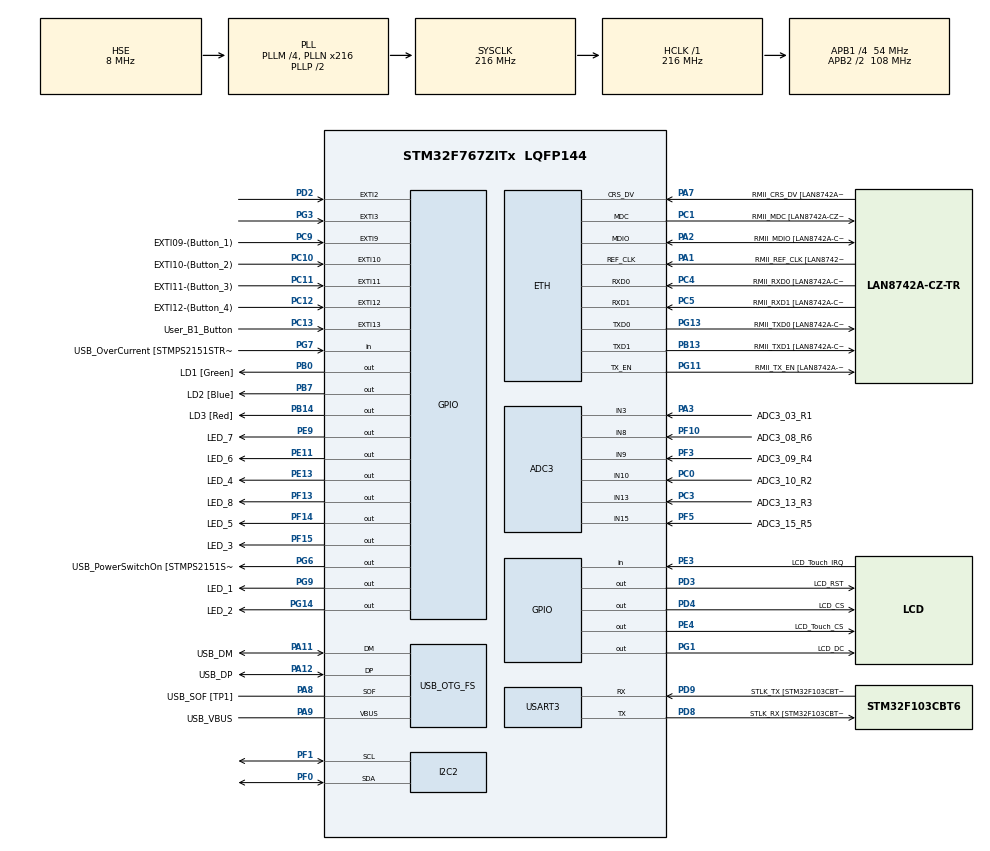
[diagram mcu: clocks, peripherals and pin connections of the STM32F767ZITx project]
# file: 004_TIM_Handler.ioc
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ADC3.Channel-0\#ChannelRegularConversion=ADC_CHANNEL_3
ADC3.Channel-1\#ChannelRegularConversion=ADC_CHANNEL_10
ADC3.Channel-2\#ChannelRegularConversion=ADC_CHANNEL_13
ADC3.Channel-3\#ChannelRegularConversion=ADC_CHANNEL_9
ADC3.Channel-4\#ChannelRegularConversion=ADC_CHANNEL_15
ADC3.Channel-5\#ChannelRegularConversion=ADC_CHANNEL_8
ADC3.ContinuousConvMode=ENABLE
ADC3.DMAContinuousRequests=ENABLE
ADC3.DiscontinuousConvMode=DISABLE
ADC3.NbrOfConversion=6
ADC3.NbrOfConversionFlag=1
ADC3.Rank-0\#ChannelRegularConversion=1
ADC3.Rank-1\#ChannelRegularConversion=2
ADC3.Rank-2\#ChannelRegularConversion=3
ADC3.Rank-3\#ChannelRegularConversion=4
ADC3.Rank-4\#ChannelRegularConversion=5
ADC3.Rank-5\#ChannelRegularConversion=6
ADC3.SamplingTime-0\#ChannelRegularConversion=ADC_SAMPLETIME_480CYCLES
ADC3.SamplingTime-1\#ChannelRegularConversion=ADC_SAMPLETIME_480CYCLES
ADC3.SamplingTime-2\#ChannelRegularConversion=ADC_SAMPLETIME_480CYCLES
ADC3.SamplingTime-3\#ChannelRegularConversion=ADC_SAMPLETIME_480CYCLES
ADC3.SamplingTime-4\#ChannelRegularConversion=ADC_SAMPLETIME_480CYCLES
ADC3.SamplingTime-5\#ChannelRegularConversion=ADC_SAMPLETIME_480CYCLES
Dma.ADC3.0.Direction=DMA_PERIPH_TO_MEMORY
Dma.ADC3.0.FIFOMode=DMA_FIFOMODE_DISABLE
Dma.ADC3.0.Instance=DMA2_Stream0
Dma.ADC3.0.MemDataAlignment=DMA_MDATAALIGN_HALFWORD
Dma.ADC3.0.MemInc=DMA_MINC_DISABLE
Dma.ADC3.0.Mode=DMA_CIRCULAR
Dma.ADC3.0.PeriphDataAlignment=DMA_PDATAALIGN_HALFWORD
Dma.ADC3.0.PeriphInc=DMA_PINC_DISABLE
Dma.ADC3.0.Priority=DMA_PRIORITY_LOW
Dma.Request0=ADC3
ETH.MediaInterface=HAL_ETH_RMII_MODE
ETH.PHY_Name=LAN8742A_PHY_ADDRESS
ETH.PHY_Value=0
ETH.PhyAddress=0
I2C2.Timing=0x20404768
Mcu.Family=STM32F7
Mcu.Name=STM32F767ZITx
Mcu.Package=LQFP144
NVIC.DMA2_Stream0_IRQn=true\:0\:0\:false\:false\:true\:false\:true\:true
NVIC.EXTI15_10_IRQn=true\:1\:0\:true\:false\:true\:true\:true\:true
NVIC.PriorityGroup=NVIC_PRIORITYGROUP_2
NVIC.TIM3_IRQn=true\:1\:0\:true\:false\:true\:true\:true\:true
NVIC.TIM4_IRQn=true\:2\:0\:true\:false\:true\:true\:true\:true
PA1.GPIO_Label=RMII_REF_CLK [LAN8742A-CZ-TR_REFCLK0]
PA1.Mode=RMII
PA1.Signal=ETH_REF_CLK
PA10.GPIO_Label=USB_ID
PA10.Signal=USB_OTG_FS_ID
PA11.GPIO_Label=USB_DM
PA11.Mode=Device_Only
PA11.Signal=USB_OTG_FS_DM
PA12.GPIO_Label=USB_DP
PA12.Mode=Device_Only
PA12.Signal=USB_OTG_FS_DP
PA13.GPIO_Label=TMS
PA13.Mode=Serial_Wire
PA13.Signal=SYS_JTMS-SWDIO
PA14.GPIO_Label=TCK
PA14.Mode=Serial_Wire
PA14.Signal=SYS_JTCK-SWCLK
PA2.GPIO_Label=RMII_MDIO [LAN8742A-CZ-TR_MDIO]
PA2.Mode=RMII
PA2.Signal=ETH_MDIO
PA3.GPIO_Label=ADC3_03_R1
PA3.Signal=ADCx_IN3
PA6.GPIO_Label=TIM3_CH1-[RGB-RED]
PA6.Signal=S_TIM3_CH1
PA7.GPIO_Label=RMII_CRS_DV [LAN8742A-CZ-TR_CRS_DV]
PA7.Mode=RMII
PA7.Signal=ETH_CRS_DV
PA8.GPIO_Label=USB_SOF [TP1]
PA8.Mode=Activate_SOF_FS
PA8.Signal=USB_OTG_FS_SOF
PA9.GPIO_Label=USB_VBUS
PA9.Mode=Activate_VBUS
PA9.Signal=USB_OTG_FS_VBUS
PB0.GPIO_Label=LD1 [Green]
PB0.Signal=GPIO_Output
PB1.Signal=S_TIM3_CH4
PB13.GPIO_Label=RMII_TXD1 [LAN8742A-CZ-TR_TXD1]
PB13.Mode=RMII
PB13.Signal=ETH_TXD1
PB14.GPIO_Label=LD3 [Red]
PB14.Signal=GPIO_Output
PB3.GPIO_Label=SWO
PB3.Signal=SYS_JTDO-SWO
PB7.GPIO_Label=LD2 [Blue]
PB7.Signal=GPIO_Output
PC0.GPIO_Label=ADC3_10_R2
PC0.Signal=ADCx_IN10
PC1.GPIO_Label=RMII_MDC [LAN8742A-CZ-TR_MDC]
PC1.Mode=RMII
PC1.Signal=ETH_MDC
PC10.GPIO_Label=EXTI10-(Button_2)
PC10.Signal=GPXTI10
PC11.GPIO_Label=EXTI11-(Button_3)
PC11.Signal=GPXTI11
PC12.GPIO_Label=EXTI12-(Button_4)
PC12.Signal=GPXTI12
PC13.GPIO_Label=User_B1_Button
PC13.Signal=GPXTI13
PC14/OSC32_IN.Signal=RCC_OSC32_IN
PC15/OSC32_OUT.Signal=RCC_OSC32_OUT
PC3.GPIO_Label=ADC3_13_R3
PC3.Signal=ADCx_IN13
PC4.GPIO_Label=RMII_RXD0 [LAN8742A-CZ-TR_RXD0]
PC4.Mode=RMII
PC4.Signal=ETH_RXD0
PC5.GPIO_Label=RMII_RXD1 [LAN8742A-CZ-TR_RXD1]
PC5.Mode=RMII
PC5.Signal=ETH_RXD1
PC7.GPIO_Label=TIM3_CH2-[RGB-Green]
PC7.Signal=S_TIM3_CH2
PC8.GPIO_Label=TIM3_CH3-[RGB-Blue]
PC8.Signal=S_TIM3_CH3
PC9.GPIO_Label=EXTI09-(Button_1)
PC9.Signal=GPXTI9
PD12.Signal=S_TIM4_CH1
PD13.Signal=S_TIM4_CH2
PD14.Signal=S_TIM4_CH3
PD15.Signal=S_TIM4_CH4
PD2.Signal=GPXTI2
PD3.GPIO_Label=LCD_RST
PD3.Signal=GPIO_Output
PD4.GPIO_Label=LCD_CS
PD4.Signal=GPIO_Output
PD8.GPIO_Label=STLK_RX [STM32F103CBT6_PA3]
PD8.Mode=Asynchronous
PD8.Signal=USART3_TX
PD9.GPIO_Label=STLK_TX [STM32F103CBT6_PA2]
PD9.Mode=Asynchronous
PD9.Signal=USART3_RX
PE11.GPIO_Label=LED_6
PE11.Signal=GPIO_Output
PE13.GPIO_Label=LED_4
PE13.Signal=GPIO_Output
PE2.GPIO_Label=LCD-Touch-CLK
PE2.Signal=SPI4_SCK
PE3.GPIO_Label=LCD_Touch_IRQ
PE3.Signal=GPIO_Input
PE4.GPIO_Label=LCD_Touch_CS
PE4.Signal=GPIO_Output
PE5.GPIO_Label=LCD_Touch_DO
PE5.Signal=SPI4_MISO
PE6.GPIO_Label=LCD_Touch_DIN
PE6.Signal=SPI4_MOSI
PE9.GPIO_Label=LED_7
PE9.Signal=GPIO_Output
PF0.Mode=I2C
PF0.Signal=I2C2_SDA
PF1.Mode=I2C
PF1.Signal=I2C2_SCL
PF10.GPIO_Label=ADC3_08_R6
PF10.Mode=IN8
PF10.Signal=ADC3_IN8
PF13.GPIO_Label=LED_8
PF13.Signal=GPIO_Output
PF14.GPIO_Label=LED_5
PF14.Signal=GPIO_Output
PF15.GPIO_Label=LED_3
PF15.Signal=GPIO_Output
PF3.GPIO_Label=ADC3_09_R4
PF3.Mode=IN9
PF3.Signal=ADC3_IN9
PF5.GPIO_Label=ADC3_15_R5
PF5.Mode=IN15
PF5.Signal=ADC3_IN15
PF7.GPIO_Label=LCD_SCK
PF7.Signal=SPI5_SCK
PF8.GPIO_Label=LCD_MISO
PF8.Signal=SPI5_MISO
PF9.GPIO_Label=LCD_MOSI
PF9.Signal=SPI5_MOSI
PG1.GPIO_Label=LCD_DC
PG1.Signal=GPIO_Output
PG11.GPIO_Label=RMII_TX_EN [LAN8742A-CZ-TR_TXEN]
PG11.Mode=RMII
PG11.Signal=ETH_TX_EN
PG13.GPIO_Label=RMII_TXD0 [LAN8742A-CZ-TR_TXD0]
PG13.Mode=RMII
PG13.Signal=ETH_TXD0
PG14.GPIO_Label=LED_2
PG14.Signal=GPIO_Output
PG3.Signal=GPXTI3
PG6.GPIO_Label=USB_PowerSwitchOn [STMPS2151STR_EN]
PG6.Signal=GPIO_Output
PG7.GPIO_Label=USB_OverCurrent [STMPS2151STR_FAULT]
PG7.Signal=GPIO_Input
PG9.GPIO_Label=LED_1
PG9.Signal=GPIO_Output
PH0/OSC_IN.GPIO_Label=MCO [STM32F103CBT6_PA8]
PH0/OSC_IN.Mode=HSE-External-Clock-Source
PH0/OSC_IN.Signal=RCC_OSC_IN
PH1/OSC_OUT.Mode=HSE-External-Clock-Source
PH1/OSC_OUT.Signal=RCC_OSC_OUT
ProjectManager.HeapSize=0x200
ProjectManager.StackSize=0x400
ProjectManager.TargetToolchain=STM32CubeIDE
RCC.48MHZClocksFreq_Value=24000000
RCC.AHBFreq_Value=216000000
RCC.APB1CLKDivider=RCC_HCLK_DIV4
RCC.APB1Freq_Value=54000000
RCC.APB1TimFreq_Value=108000000
RCC.APB2CLKDivider=RCC_HCLK_DIV2
RCC.APB2Freq_Value=108000000
RCC.APB2TimFreq_Value=216000000
RCC.CortexFreq_Value=216000000
RCC.HCLKFreq_Value=216000000
RCC.HSE_VALUE=8000000
RCC.HSI_VALUE=16000000
RCC.LSE_VALUE=32768
RCC.PLLM=4
RCC.PLLMUL=RCC_PLL_MUL9
RCC.PLLN=216
RCC.PLLQ=9
RCC.PRESCALERUSB=RCC_USBCLKSOURCE_PLL_DIV1_5
RCC.SYSCLKFreq_VALUE=216000000
RCC.SYSCLKSource=RCC_SYSCLKSOURCE_PLLCLK
RCC.SYSCLKSourceVirtual=RCC_SYSCLKSOURCE_PLLCLK
RCC.USBFreq_Value=48000000
RCC.VCOOutputFreq_Value=432000000
SH.ADCx_IN10.0=ADC3_IN10,IN10
SH.ADCx_IN13.0=ADC3_IN13,IN13
SH.ADCx_IN3.0=ADC3_IN3,IN3
SH.S_TIM3_CH1.0=TIM3_CH1
SH.S_TIM3_CH2.0=TIM3_CH2
SH.S_TIM3_CH3.0=TIM3_CH3
SH.S_TIM3_CH4.0=TIM3_CH4
SH.S_TIM4_CH1.0=TIM4_CH1
SH.S_TIM4_CH2.0=TIM4_CH2
SH.S_TIM4_CH3.0=TIM4_CH3
SH.S_TIM4_CH4.0=TIM4_CH4
TIM3.Period=10000-1
TIM3.Prescaler=10800-1
TIM4.Period=1000-1
TIM4.Prescaler=108-1
USART3.VirtualMode-Asynchronous=VM_ASYNC
USB_OTG_FS.VirtualMode=Device_Only
VP_RNG_VS_RNG.Mode=RNG_Activate
VP_TIM3_VS_ClockSourceINT.Mode=Internal
VP_TIM4_VS_ClockSourceINT.Mode=Internal
board=NUCLEO-F767ZI

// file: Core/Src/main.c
/* USER CODE BEGIN Header */
/**
  ******************************************************************************
  * @file           : main.c
  * @brief          : Main program body
  ******************************************************************************
  * @attention
  *
  * Copyright (c) 2025 STMicroelectronics.
  * All rights reserved.
  *
  * This software is licensed under terms that can be found in the LICENSE file
  * in the root directory of this software component.
  * If no LICENSE file comes with this software, it is provided AS-IS.
  *
  ******************************************************************************
  */
/* USER CODE END Header */
#include "main.h"
#include "adc.h"
#include "dma.h"
#include "eth.h"
#include "i2c.h"
#include "rng.h"
#include "tim.h"
#include "usart.h"
#include "usb_otg.h"
#include "gpio.h"

/* USER CODE BEGIN Includes */
#include<stdio.h>
#include<stdlib.h>
#include<string.h>
#include <stddef.h>  /* for size_t */
/* USER CODE END Includes */

/* USER CODE BEGIN PD */

/* ===== Canonical GPIO name aliases for LEDs =====
   Map CubeMX-generated symbols (LED_1_Pin, etc.) to uniform PORT_/PIN_ names.
   If a label doesn't exist in your project it simply won't be used. */

/* Small holder for GPIO pairs */

/* USER CODE END PD */

/* USER CODE BEGIN PV */
volatile uint32_t count = 0;
volatile uint32_t ms = 0;
volatile uint32_t ss = 0;
volatile uint32_t mm = 0;
/* USER CODE END PV */

void SystemClock_Config(void);
/* USER CODE BEGIN PFP */
static void displayNumber(uint32_t v);
static void print_time_mmss(uint32_t mm, uint32_t ss);
/* USER CODE END PFP */

int main(void)
{

  /* MCU Configuration--------------------------------------------------------*/

  /* Reset of all peripherals, Initializes the Flash interface and the Systick. */
  HAL_Init();

  /* Configure the system clock */
  SystemClock_Config();

  /* Initialize all configured peripherals */
  MX_GPIO_Init();
  MX_DMA_Init();
  MX_ETH_Init();
  MX_USART3_UART_Init();
  MX_USB_OTG_FS_PCD_Init();
  MX_ADC3_Init();
  MX_RNG_Init();
  MX_I2C2_Init();
  MX_TIM3_Init();
  MX_TIM4_Init();
  /* USER CODE BEGIN 2 */
  HAL_TIM_Base_Start_IT(&htim4);
  HAL_TIM_Base_Start_IT(&htim3);
  /* USER CODE END 2 */

  /* Infinite loop */
  while (1)
  {

    /* USER CODE BEGIN 3 */
	  HAL_Delay(50);

  }
  /* USER CODE END 3 */
}

void SystemClock_Config(void)
{
  RCC_OscInitTypeDef RCC_OscInitStruct = {0};
  RCC_ClkInitTypeDef RCC_ClkInitStruct = {0};

  /** Configure the main internal regulator output voltage
  */
  __HAL_RCC_PWR_CLK_ENABLE();
  __HAL_PWR_VOLTAGESCALING_CONFIG(PWR_REGULATOR_VOLTAGE_SCALE1);

  /** Initializes the RCC Oscillators according to the specified parameters
  * in the RCC_OscInitTypeDef structure.
  */
  RCC_OscInitStruct.OscillatorType = RCC_OSCILLATORTYPE_HSE;
  RCC_OscInitStruct.HSEState = RCC_HSE_BYPASS;
  RCC_OscInitStruct.PLL.PLLState = RCC_PLL_ON;
  RCC_OscInitStruct.PLL.PLLSource = RCC_PLLSOURCE_HSE;
  RCC_OscInitStruct.PLL.PLLM = 4;
  RCC_OscInitStruct.PLL.PLLN = 216;
  RCC_OscInitStruct.PLL.PLLP = RCC_PLLP_DIV2;
  RCC_OscInitStruct.PLL.PLLQ = 9;
  RCC_OscInitStruct.PLL.PLLR = 2;
  if (HAL_RCC_OscConfig(&RCC_OscInitStruct) != HAL_OK)
  {
    Error_Handler();
  }

  /** Activate the Over-Drive mode
  */
  if (HAL_PWREx_EnableOverDrive() != HAL_OK)
  {
    Error_Handler();
  }

  /** Initializes the CPU, AHB and APB buses clocks
  */
  RCC_ClkInitStruct.ClockType = RCC_CLOCKTYPE_HCLK|RCC_CLOCKTYPE_SYSCLK
                              |RCC_CLOCKTYPE_PCLK1|RCC_CLOCKTYPE_PCLK2;
  RCC_ClkInitStruct.SYSCLKSource = RCC_SYSCLKSOURCE_PLLCLK;
  RCC_ClkInitStruct.AHBCLKDivider = RCC_SYSCLK_DIV1;
  RCC_ClkInitStruct.APB1CLKDivider = RCC_HCLK_DIV4;
  RCC_ClkInitStruct.APB2CLKDivider = RCC_HCLK_DIV2;

  if (HAL_RCC_ClockConfig(&RCC_ClkInitStruct, FLASH_LATENCY_7) != HAL_OK)
  {
    Error_Handler();
  }
}

/* USER CODE BEGIN 4 */
void HAL_GPIO_EXTI_Callback(uint16_t GPIO_Pin)
{
  static uint32_t last_tick = 0;
  uint32_t now = HAL_GetTick();
  if (now - last_tick < 200) return;
  last_tick = now;

}
static void displayNumber(uint32_t v)
{
    char buf[32];
    int n = snprintf(buf, sizeof(buf), "%lu\r\n", (unsigned long)v);
    if (n > 0) {
        HAL_UART_Transmit(&huart3, (uint8_t*)buf,
                          (uint16_t)((n < (int)sizeof(buf)) ? n : (int)sizeof(buf)-1),
                          1000);
    }
}
void HAL_TIM_PeriodElapsedCallback(TIM_HandleTypeDef *htim)
{
	 if (htim->Instance == TIM4) {
	        ms++;
	    }
	if (htim->Instance == TIM3) {
		ss++;
		if (ss >= 60) { ss = 0; mm++; }
		print_time_mmss(mm, ss);
	}
}
static void print_time_mmss(uint32_t m, uint32_t s)
{
    char buf[16];
    int n = snprintf(buf, sizeof(buf), "%02lu:%02lu\r", (unsigned long)(m % 100), (unsigned long)(s % 60));
    if (n > 0) {
        HAL_UART_Transmit(&huart3, (uint8_t*)buf, (uint16_t)n, 1000);
    }
}

/* USER CODE END 4 */

void Error_Handler(void)
{
  /* USER CODE BEGIN Error_Handler_Debug */
  __disable_irq();
  while (1)
  {
    /* Optionally flash a board LED fast here to indicate a fault */
  }
  /* USER CODE END Error_Handler_Debug */
}
